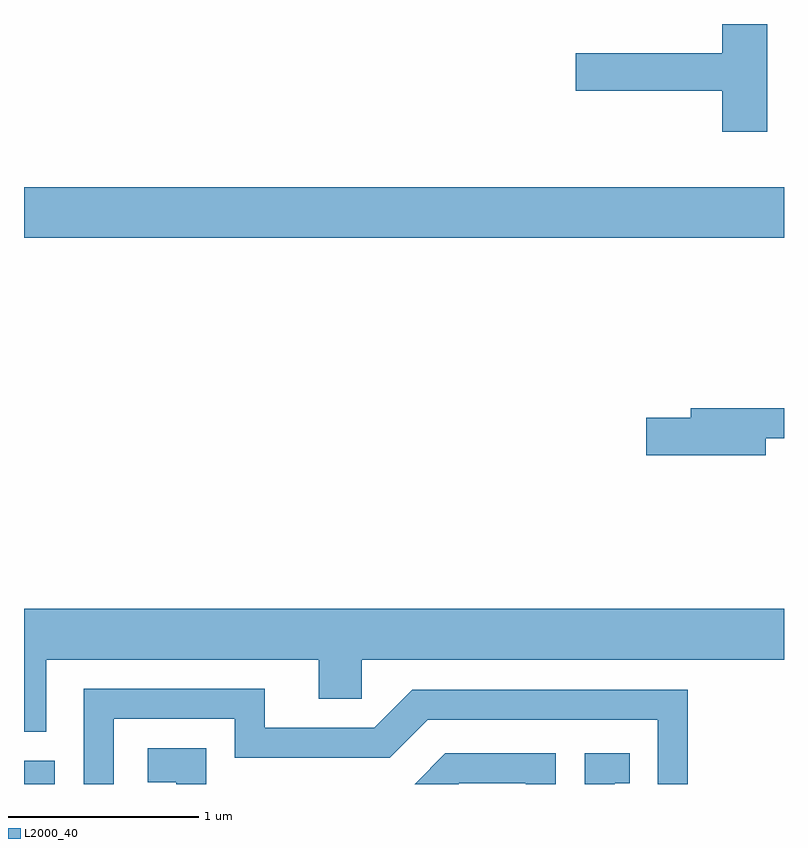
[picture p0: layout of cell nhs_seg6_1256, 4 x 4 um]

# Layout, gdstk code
import gdstk
lib = gdstk.Library(unit=1e-6, precision=1e-09)
def R(c, l, rs):  # rectangles x0, y0, x1, y1
    for r in rs: c.add(gdstk.rectangle(r[:2], r[2:], *l))
def P(c, l, *ps):  # polygons
    for p in ps: c.add(gdstk.Polygon(p, *l))
L2000_40 = (2000, 40)

nhs_seg6_1256 = lib.new_cell('nhs_seg6_1256')
R(nhs_seg6_1256, L2000_40, [(221.611,1658.162,221.774,1658.284), (221.611,1661.036,225.611,1661.304)])
P(nhs_seg6_1256, L2000_40, [(225.524,1662.162),(225.286,1662.162),(225.286,1662.009),(224.516,1662.009),(224.516,1661.811),(225.286,1661.811),(225.286,1661.596),(225.524,1661.596)],
  [(225.514,1659.981),(225.611,1659.981),(225.611,1660.139),(225.121,1660.139),(225.121,1660.089),(224.886,1660.089),(224.886,1659.891),(225.514,1659.891)],
  [(221.729,1658.816),(223.161,1658.816),(223.161,1658.611),(223.389,1658.611),(223.389,1658.816),(225.611,1658.816),(225.611,1659.084),(221.611,1659.084),(221.611,1658.436),(221.729,1658.436)],
  [(222.084,1658.506),(222.721,1658.506),(222.721,1658.301),(223.537,1658.301),(223.737,1658.501),(224.946,1658.501),(224.946,1658.162),(225.104,1658.162),(225.104,1658.659),(223.654,1658.659),(223.454,1658.459),(222.879,1658.459),(222.879,1658.664),(221.926,1658.664),(221.926,1658.162),(222.084,1658.162)],
  [(222.569,1658.349),(222.261,1658.349),(222.261,1658.171),(222.411,1658.171),(222.411,1658.162),(222.569,1658.162)],
  [(224.719,1658.166),(224.798,1658.166),(224.798,1658.324),(224.561,1658.324),(224.561,1658.162),(224.719,1658.162)],
  [(223.902,1658.166),(224.251,1658.166),(224.251,1658.162),(224.409,1658.162),(224.409,1658.324),(223.829,1658.324),(223.667,1658.162),(223.898,1658.162)])

lib.write_gds('nhs_seg6_1256.gds')
